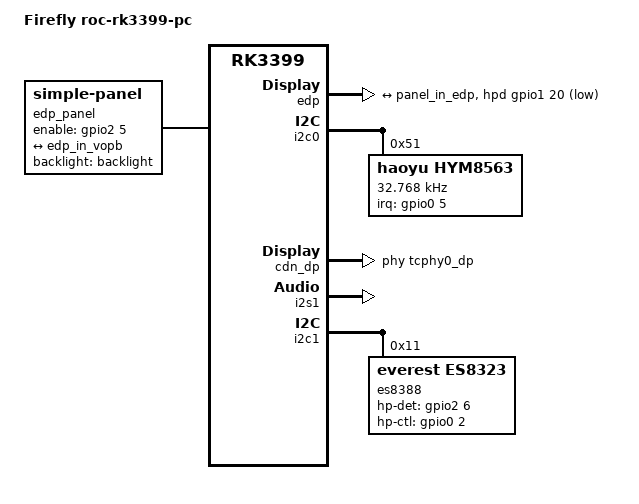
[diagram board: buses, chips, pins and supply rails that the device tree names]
/dts-v1/;
#include "rk3399-roc-pc.dtsi"

/ {
	model = "Firefly roc-rk3399-pc";
	compatible = "firefly,roc-rk3399-pc", "rockchip,rk3399";

	es8388-sound {
		status = "okay";
		compatible = "simple-audio-card";
		simple-audio-card,format = "i2s";
		simple-audio-card,name = "rockchip,es8388-codec";
		simple-audio-card,mclk-fs = <256>;
		simple-audio-card,cpu {
			sound-dai = <&i2s1>;
			system-clock-frequency = <11289600>;
		};
		simple-audio-card,codec {
			sound-dai = <&es8388>;
			system-clock-frequency = <11289600>;
		};
	};
	/delete-node/ vcc_hub_en-regulator;

	edp_panel: edp-panel {
        compatible = "simple-panel";
        bus-format = <MEDIA_BUS_FMT_RGB666_1X18>;
        backlight = <&backlight>;

		enable-gpios = <&gpio2 5 GPIO_ACTIVE_HIGH>;
		pinctrl-names = "default";
	    pinctrl-0 = <&lcd_panel_enable>;

        display-timings {
            native-mode = <&timing0>;

            timing0: timing0 {
                clock-frequency = <200000000>;
                hactive = <2560>;
                vactive = <1600>;
                hfront-porch = <48>;
                hsync-len = <80>;
                hback-porch = <32>;
                vfront-porch = <2>;
                vsync-len = <39>;
                vback-porch = <5>;
                hsync-active = <0>;
                vsync-active = <0>;
                de-active = <0>;
                pixelclk-active = <0>;
            };
        };

        ports {
            panel_in_edp: endpoint {
                remote-endpoint = <&edp_in_vopb>;
            };
        };
    };
};

/*这里注释拉enable引脚，因为eDP和mipi共用拉，enable引脚。又因为
        背光电路驱动backlight驱动没有引脚占用检测功能，所有如果不注释会冲突报错
    */
&backlight {
    pwms = <&pwm0 0 25000 0>;
    //enable-gpios = <&gpio1 24 GPIO_ACTIVE_HIGH>;
    // pinctrl-names = "default";
    // pinctrl-0 = <&lcd_backlight_enable>;
};


&edp {
    status = "okay";
    pinctrl-names = "default";
    pinctrl-0 = <&edp_hpd>;

    hpd-gpios = <&gpio1 20 GPIO_ACTIVE_LOW>;

    ports {
        edp_out: port@1 {
            reg = <1>;
            #address-cells = <1>;
            #size-cells = <0>;

            edp_out_panel: endpoint@0 {
                reg = <0>;
                remote-endpoint = <&panel_in_edp>;
            };
        };
    };

};
//GPIO1_C4  16+4
&edp_hpd {
    rockchip,pins = <1 20 RK_FUNC_2 &pcfg_pull_none>;
};


&pinctrl {
	 es8388-pins {
		ear_ctl_h: ear-ctl-h {
                        rockchip,pins = <0 2 RK_FUNC_GPIO &pcfg_pull_down>;
                };
	};

	edp {
        lcd_panel_enable: lcd-panel-enable {
            rockchip,pins = <2 5 RK_FUNC_GPIO &pcfg_pull_up>;
        };
        lcd_edp_hpd_enable: lcd-edp-hpd-enable{
            rockchip,pins = <1 20 RK_FUNC_GPIO &pcfg_pull_up>;
        };
    };
};



/* RTC */

&rk808{
	rtc {
		status = "disabled";
	};
};

&i2c0 {
	status = "okay";
	hym8563: hym8563@51 {
		compatible = "haoyu,hym8563";
		reg = <0x51>;
		interrupt-parent = <&gpio0>;
		interrupts = <5 IRQ_TYPE_EDGE_FALLING>;
		pinctrl-names = "default";
		#clock-cells = <0>;
		clock-frequency = <32768>;
		clock-output-names = "xin32k";
	};
};

&i2c4 {
	/delete-node/ fusb30x@22;
};

&fusb0 {
    vbus-5v-gpios = <&gpio1 13 GPIO_ACTIVE_HIGH>;
	fusb302,role = "ROLE_MODE_DFP";
};

&cdn_dp {
	status = "okay";
	extcon = <&fusb0>;
	phys = <&tcphy0_dp>;
};

&tcphy1 {
	/delete-property/ extcon;
};

&u2phy1 {
	/delete-property/ extcon;
};

&usbdrd3_1 {
	/delete-property/ extcon;
};







&i2s1 {
	status = "okay";
};

&vcc_wifi {
	gpio = <&gpio2 4 GPIO_ACTIVE_HIGH>;
	pinctrl-names = "default";
	pinctrl-0 = <&vcc_wifi_h>;
};

&vcc_wifi_h {
	rockchip,pins = <2 4 RK_FUNC_GPIO &pcfg_pull_none>;
};

&dmc {
	status = "disabled";
};

&rk808 {
	/delete-property/ pmic,hold-gpio;
};

&i2c1 {
	status = "okay";
	es8388: es8388@11 {
		compatible = "everest,es8323";
		status = "okay";
		reg = <0x11>;
		hp-det-gpio = <&gpio2 6 GPIO_ACTIVE_HIGH>;
		hp-ctl-gpio = <&gpio0 2 GPIO_ACTIVE_HIGH>;
		clock-names = "mclk";
		clocks = <&cru SCLK_I2S_8CH_OUT>;
		pinctrl-names = "default";
		pinctrl-0 = <&i2s_8ch_mclk>;
		pinctrl-1 = <&ear_ctl_h>;
		#sound-dai-cells = <0>;
	};
};
